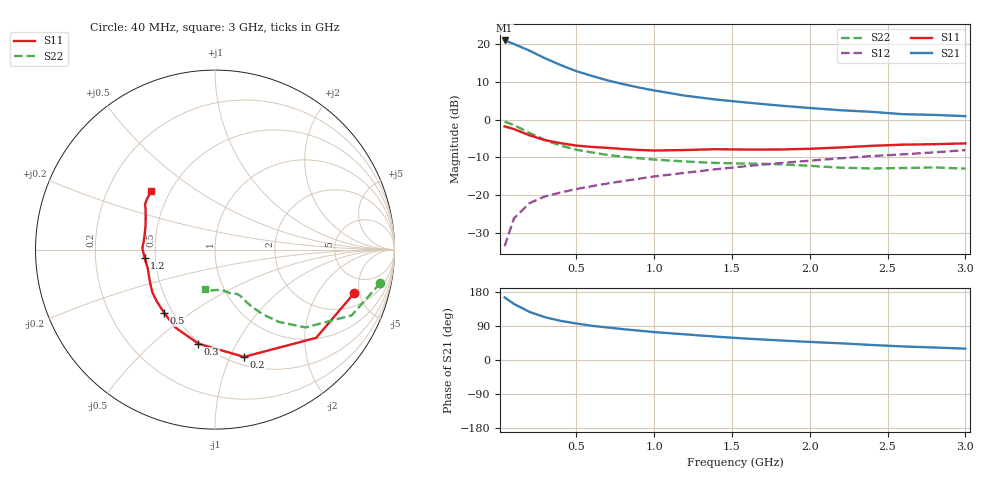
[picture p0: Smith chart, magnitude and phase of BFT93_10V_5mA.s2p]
! Filename:  BFT93E.S2P  Version:  2.0
! Philips part #: BFT93  Date: May 1990
! Bias condition: Vce=-10V, Ic=-5mA
#  MHz  S  MA  R  50
! Freq  S11  S21  S12  S22  !GUM [dB]
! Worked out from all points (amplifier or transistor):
!   21 points, 40 MHz to 3 GHz, reference 50 ohm
!   highest |S21| = 21.0 dB at 40 MHz (marker M1)
!   |S21| within 3 dB of that: start of sweep to 214.5 MHz
!   unconditionally stable (mu >= 1): 984.6 MHz to 2.767 GHz
!   at 300 MHz: K = 0.53, MSG = 18.3 dB, |S12| = -20.4 dB
!   at 1 GHz: K = 1.01, MAG = 11.0 dB, |S12| = -15.1 dB
!   at 3 GHz: K = 0.98, MSG = 4.5 dB, |S12| = -8.1 dB
!   S11 on the Smith chart (normalised r, x): 40 MHz: 3.12, -4.46; 200 MHz: 0.58, -1.13; 300 MHz: 0.49, -0.71; 500 MHz: 0.45, -0.40; 1.2 GHz: 0.43, -0.05; 3 GHz: 0.39, +0.34
40  0.813 -17.3  11.18 165.2  0.021 80.7  0.94 -11.4
100  0.748 -41.1  10.04 148.0  0.049 68.0  0.845 -25.7
200  0.619 -74.9  8.187 126.9  0.078 56.8  0.665 -40.7
300  0.532 -100.1  6.481 112.8  0.096 51.7  0.537 -48.6
400  0.487 -117.0  5.278 103.3  0.108 50.1  0.452 -53.3
500  0.452 -128.9  4.384 96.4  0.12 49.9  0.399 -56.0
600  0.434 -138.5  3.789 90.3  0.131 50.3  0.367 -57.7
700  0.422 -146.0  3.313 85.8  0.142 51.1  0.34 -59.1
800  0.407 -152.3  2.955 81.4  0.153 52.0  0.322 -59.9
900  0.396 -158.4  2.667 77.6  0.164 52.5  0.308 -60.7
1000  0.389 -164.3  2.433 73.7  0.176 53.0  0.295 -61.2
1200  0.395 -173.5  2.072 67.7  0.197 53.7  0.278 -63.3
1400  0.405 178.8  1.842 61.6  0.22 54.2  0.266 -66.5
1600  0.4 173.7  1.676 56.3  0.242 54.0  0.261 -69.1
1800  0.401 167.4  1.537 51.8  0.264 54.0  0.256 -71.4
2000  0.41 160.6  1.424 47.7  0.285 53.7  0.244 -74.4
2200  0.427 154.7  1.328 44.0  0.307 53.5  0.23 -79.6
2400  0.449 149.5  1.265 39.6  0.329 52.7  0.225 -87.5
2600  0.465 147.0  1.178 35.7  0.346 52.0  0.228 -94.2
2800  0.472 143.4  1.153 33.0  0.368 51.5  0.232 -98.6
3000  0.483 137.2  1.11 29.9  0.393 50.8  0.224 -103.7
